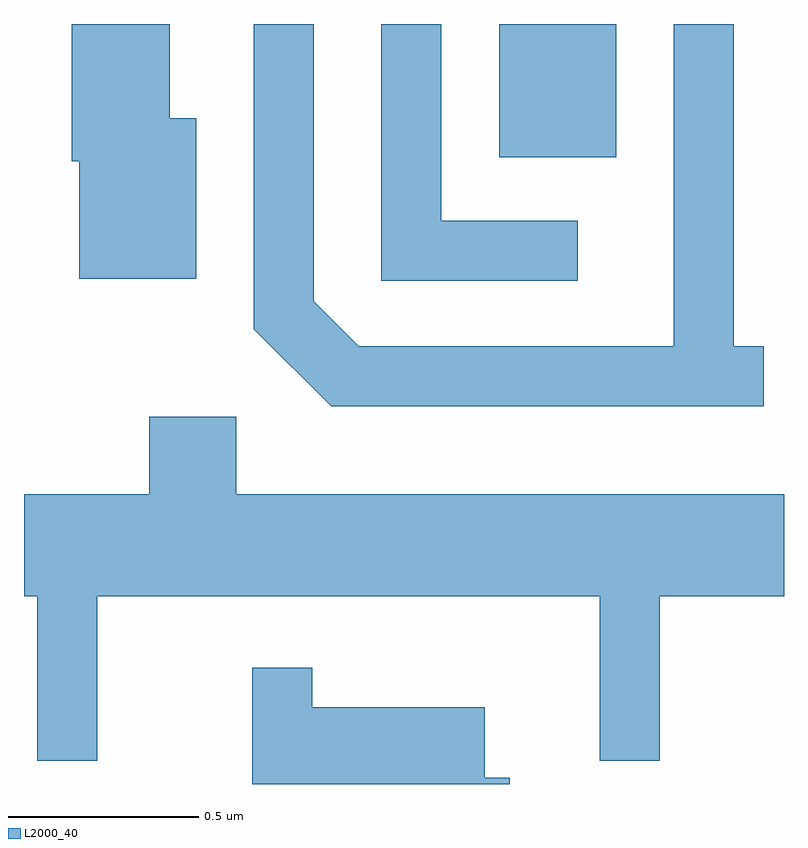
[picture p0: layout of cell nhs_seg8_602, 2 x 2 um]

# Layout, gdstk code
import gdstk
lib = gdstk.Library(unit=1e-6, precision=1e-09)
def R(c, l, rs):  # rectangles x0, y0, x1, y1
    for r in rs: c.add(gdstk.rectangle(r[:2], r[2:], *l))
def P(c, l, *ps):  # polygons
    for p in ps: c.add(gdstk.Polygon(p, *l))
L2000_40 = (2000, 40)

nhs_seg8_602 = lib.new_cell('nhs_seg8_602')
R(nhs_seg8_602, L2000_40, [(190.861,1861.991,191.169,1862.342)])
P(nhs_seg8_602, L2000_40, [(191.558,1861.494),(191.479,1861.494),(191.479,1862.342),(191.321,1862.342),(191.321,1861.494),(190.492,1861.494),(190.374,1861.612),(190.374,1862.342),(190.216,1862.342),(190.216,1861.539),(190.419,1861.336),(191.558,1861.336)],
  [(191.068,1861.824),(190.709,1861.824),(190.709,1862.342),(190.551,1862.342),(190.551,1861.666),(191.068,1861.666)],
  [(190.064,1862.094),(189.994,1862.094),(189.994,1862.342),(189.736,1862.342),(189.736,1861.981),(189.756,1861.981),(189.756,1861.671),(190.064,1861.671)],
  [(189.804,1860.836),(191.126,1860.836),(191.126,1860.403),(191.284,1860.403),(191.284,1860.836),(191.611,1860.836),(191.611,1861.104),(190.169,1861.104),(190.169,1861.309),(189.941,1861.309),(189.941,1861.104),(189.611,1861.104),(189.611,1860.836),(189.646,1860.836),(189.646,1860.403),(189.804,1860.403)],
  [(190.889,1860.359),(190.824,1860.359),(190.824,1860.544),(190.369,1860.544),(190.369,1860.648),(190.211,1860.648),(190.211,1860.342),(190.889,1860.342)])

lib.write_gds('nhs_seg8_602.gds')
